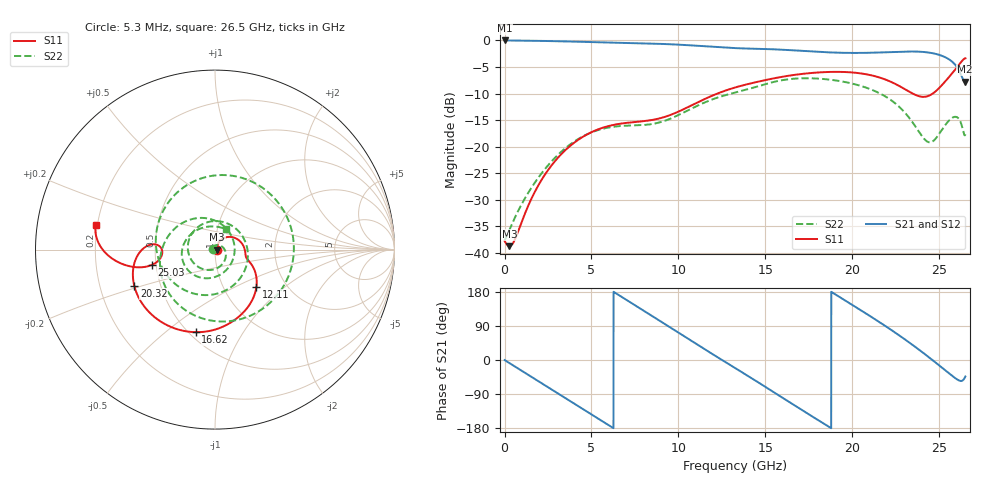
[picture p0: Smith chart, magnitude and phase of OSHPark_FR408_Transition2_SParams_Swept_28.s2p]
! TOUCHSTONE file generated by CST MICROWAVE STUDIO
! Date and time: Tue Jan  7 09:43:43 2020
! Project name: OSHPark_FR408_Transition2.cst
! Parameters = {GND_Plane_XMax=13; Cap_Disk_XOffset=0; Cap_Disk2_YCenter=-1.03; Cap_Disk_YCenter=1.03; Cap_Disk_XCenter=7.39; Cap_Disk_Radius=0.5; BottomSupport_Left_YMax=4.76; BottomSupport_Left_YMin=3.74; BottomSupport_Right_YMax=-3.74; BottomSupport_Right_YMin=-4.76; BottomSupport_XMax=11.64; Bot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
! Header version: 2015
! Port assignment regex: !\s*Touchstone port\s*([0-9]+)\s*=\s*CST MWS port\s*([0-9]+)\s*\(\"(.*)\"\)(\s*mode\s*([0-9]+))?.*
! Touchstone port assignment:
! Touchstone port 1 = CST MWS port 1 ("")
! Touchstone port 2 = CST MWS port 2 ("")
# GHz S MA R 50
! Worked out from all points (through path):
!   5000 points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, 5.3 MHz to 26.5 GHz, reference 50 ohm
!   highest |S21| = 0.00 dB at 10.6 MHz (marker M1); lowest = -7.8 dB at 26.46 GHz (marker M2)
!   group delay of S21, straight-line fit = 80.9 ps
!   lowest |S11| = -38.8 dB at 286.2 MHz (marker M3), VSWR 1.02, Z = 51.2 + j0.0468 ohm
!   |S11| at or under -10 dB: start of sweep to 12.25 GHz; 23.46 GHz to 24.63 GHz (1.167 GHz wide, 4.85 % of centre)
!   |S22| runs from -37.7 to -7.1 dB; largest |S21 - S12| = 0
!   S11 on the Smith chart (normalised r, x): 5.3 MHz: 1.02, -0.01; 12.11 GHz: 1.43, -0.65; 16.62 GHz: 0.54, -0.64; 20.32 GHz: 0.35, -0.19; 25.03 GHz: 0.47, -0.09; 26.5 GHz: 0.19, +0.10
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0.0053  0.01288 -22.4  0.9999 -0.2  0.9999 -0.2  0.01308 154.9
0.0106  0.01284 -22.4  0.9999 -0.3  0.9999 -0.3  0.01312 154.7
0.2862  0.01151 2.3  0.999 -8.2  0.999 -8.2  0.01646 122.9
2.4804  0.05929 59.5  0.9878 -71.4  0.9878 -71.4  0.06587 -23.3
4.4255  0.1214 34.3  0.971 -127.2  0.971 -127.2  0.1227 -113.1
5.5173  0.148 17.6  0.9604 -158.5  0.9604 -158.5  0.1452 -160.5
6.5508  0.1632 3.3  0.9512 171.9  0.9512 171.9  0.1556 153.0
8.8404  0.183 -15.4  0.9301 105.9  0.9301 105.9  0.1677 34.1
10.2926  0.2246 -23.0  0.9076 63.6  0.9076 63.6  0.2092 -44.8
12.1105  0.3097 -41.8  0.868 11.2  0.868 11.2  0.2843 -129.3
13.2553  0.3601 -57.2  0.8466 -21.1  0.8466 -21.1  0.3227 -175.4
15.0361  0.4245 -81.2  0.8304 -72.0  0.8304 -72.0  0.3891 116.3
16.6155  0.4724 -103.1  0.8064 -118.0  0.8064 -118.0  0.4356 48.9
17.6702  0.494 -118.0  0.7868 -148.3  0.7868 -148.3  0.4397 2.3
19.0853  0.506 -138.1  0.7676 171.5  0.7676 171.5  0.4189 -59.3
20.3202  0.4932 -155.7  0.7628 136.2  0.7628 136.2  0.3798 -111.6
22.0851  0.4164 -178.5  0.7761 84.0  0.7761 84.0  0.2838 172.0
23.8023  0.2993 178.7  0.7842 28.3  0.7842 28.3  0.1401 69.7
25.0266  0.3611 -166.4  0.7285 -15.5  0.7285 -15.5  0.1342 -67.1
26.0336  0.5625 -174.0  0.5551 -51.5  0.5551 -51.5  0.1884 -167.9
26.4576  0.6758 170.5  0.4092 -47.1  0.4092 -47.1  0.1277 82.0
26.5  0.6789 167.9  0.4143 -43.5  0.4143 -43.5  0.1303 57.9
